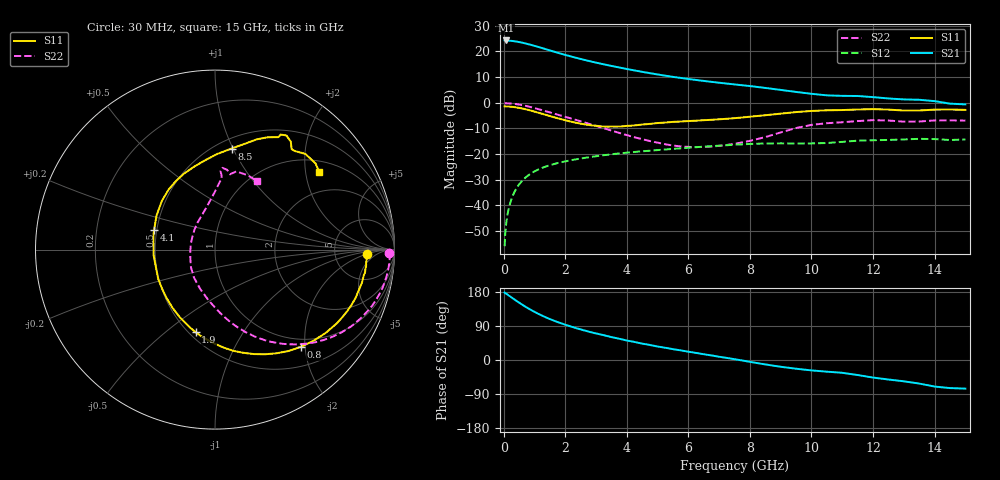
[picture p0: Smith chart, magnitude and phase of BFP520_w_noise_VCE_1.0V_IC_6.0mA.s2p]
! Infineon Technologies  Discrete & RF Semiconductors
! BFP520
! VCE =  1.0 V,  IC =  6.0 mA
! Common Emitter S-Parameters:  Oct 2015
# GHz  S  MA  R  50
!  f  S11  S21  S12  S22
! GHz  MAG  ANG  MAG  ANG  MAG  ANG  MAG  ANG
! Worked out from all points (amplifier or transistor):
!   109 points, 30 MHz to 15 GHz, reference 50 ohm
!   highest |S21| = 24.3 dB at 70 MHz (marker M1)
!   |S21| within 3 dB of that: start of sweep to 1.256 GHz
!   unconditionally stable (mu >= 1): 3.83 GHz to end of sweep
!   at 450 MHz: K = 0.15, MSG = 28.2 dB, |S12| = -32.7 dB
!   at 4 GHz: K = 1.02, MAG = 15.4 dB, |S12| = -19.5 dB
!   at 15 GHz: K = 1.37, MAG = 3.2 dB, |S12| = -14.3 dB
!   lowest NFmin = 1.26 dB at 900 MHz
!   S11 on the Smith chart (normalised r, x): 30 MHz: 12, -2; 800 MHz: 0.85, -1.92; 1.9 GHz: 0.54, -0.64; 4.1 GHz: 0.48, +0.12; 8.5 GHz: 0.59, +0.99; 15 GHz: 1.31, +2.39
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0.03  0.849 -1.8  16.35 178.1  0.0016 89.8  0.972 -1.1
0.07  0.8463 -4.4  16.36 175.4  0.0037 87.3  0.974 -2.9
0.25  0.8326 -15.8  16.06 165.4  0.0131 82.2  0.9628 -10.9
0.45  0.8027 -28.1  15.42 154.1  0.0231 75.8  0.931 -19.4
0.6  0.7719 -37.0  14.82 146.1  0.0301 71.5  0.8969 -25.4
0.8  0.723 -48.5  13.84 136.1  0.0385 66.0  0.8441 -33.0
1  0.6713 -59.4  12.85 127.1  0.0458 61.3  0.7871 -39.8
1.2  0.6205 -69.7  11.85 118.9  0.0523 57.1  0.7299 -45.9
1.5  0.5498 -84.6  10.47 108.0  0.0606 51.8  0.6485 -54.1
1.9  0.4725 -103.2  8.895 95.9  0.0698 46.3  0.5526 -63.4
2.2  0.4266 -117.0  7.933 87.9  0.076 42.9  0.4904 -69.7
2.6  0.3815 -135.0  6.88 78.4  0.0836 38.8  0.4174 -77.5
3  0.356 -152.8  6.044 70.0  0.0906 35.2  0.3533 -85.5
3.5  0.3435 -174.8  5.209 60.3  0.099 30.7  0.2868 -96.9
4.1  0.3558 162.4  4.427 49.9  0.1077 25.6  0.2247 -113.5
5.1  0.4051 135.3  3.479 34.3  0.1206 18.1  0.1618 -146.3
6  0.4392 119.8  2.903 21.8  0.1327 11.6  0.138 -176.1
7.6  0.5063 94.8  2.241 0.8  0.1528 -1.2  0.1623 133.2
8.5  0.5706 80.7  1.942 -11.7  0.1606 -9.6  0.2137 108.1
10.5  0.7116 61.7  1.392 -30.8  0.1639 -21.6  0.399 84.6
13  0.7041 52.7  1.16 -56.2  0.1925 -40.8  0.4275 78.7
15  0.725 36.7  0.928 -75.5  0.1923 -56.1  0.4488 58.7
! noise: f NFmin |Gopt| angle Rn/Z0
0.45  1.29  0.43  2  0.31
0.9  1.26  0.42  9  0.32
1.9  1.48  0.36  20  0.28
2.4  1.51  0.32  32  0.27
3.5  1.45  0.29  55  0.26
